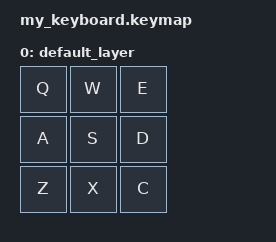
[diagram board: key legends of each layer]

// config/my_keyboard.keymap
#include <behaviors.dtsi>
#include <dt-bindings/zmk/keys.h>

/ {
    keymap {
        compatible = "zmk,keymap";
        label = "Default";

        default_layer {
            bindings = <
                &kp Q &kp W &kp E
                &kp A &kp S &kp D
                &kp Z &kp X &kp C
              
            >;
        };
    };
};
